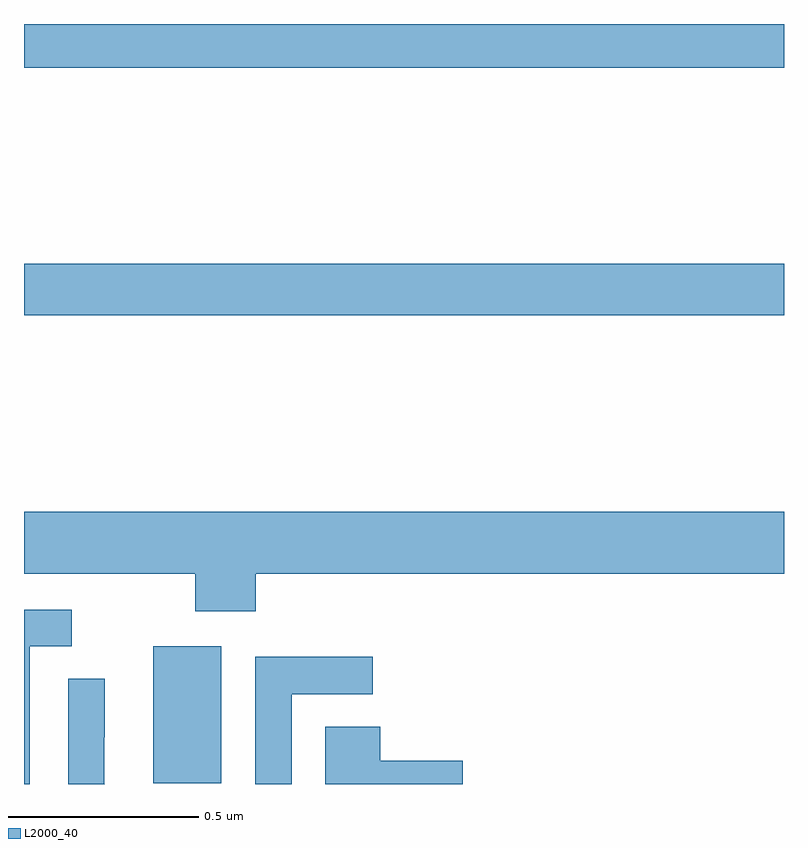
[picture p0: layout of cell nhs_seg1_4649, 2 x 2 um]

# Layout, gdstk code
import gdstk
lib = gdstk.Library(unit=1e-6, precision=1e-09)
def R(c, l, rs):  # rectangles x0, y0, x1, y1
    for r in rs: c.add(gdstk.rectangle(r[:2], r[2:], *l))
def P(c, l, *ps):  # polygons
    for p in ps: c.add(gdstk.Polygon(p, *l))
L2000_40 = (2000, 40)

nhs_seg1_4649 = lib.new_cell('nhs_seg1_4649')
R(nhs_seg1_4649, L2000_40, [(169.34,531.201,169.519,531.562), (169,532.432,171,532.568), (169,533.084,171,533.199)])
P(nhs_seg1_4649, L2000_40, [(169.61,531.752),(171,531.752),(171,531.916),(169,531.916),(169,531.752),(169.45,531.752),(169.45,531.653),(169.61,531.653)],
  [(169.015,531.561),(169.126,531.561),(169.126,531.657),(169,531.657),(169,531.199),(169.015,531.199)],
  [(169.704,531.435),(169.918,531.435),(169.918,531.534),(169.608,531.534),(169.608,531.199),(169.704,531.199)],
  [(169.211,531.2),(169.211,531.322),(169.212,531.322),(169.212,531.476),(169.116,531.476),(169.116,531.199),(169.212,531.199)],
  [(170.155,531.26),(169.937,531.26),(169.937,531.35),(169.793,531.35),(169.793,531.199),(170.155,531.199)])

lib.write_gds('nhs_seg1_4649.gds')
